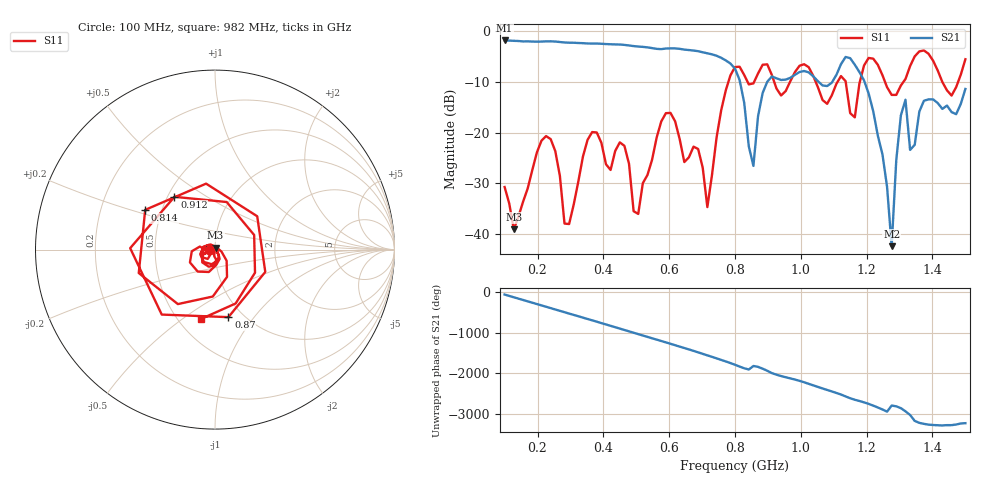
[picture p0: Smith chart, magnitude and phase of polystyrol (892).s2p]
! NanoVNA-App
! Date: 2025-09-25 15:36:49
! Start: 100MHz Stop: 1,5GHz Points: 101
! S-Parameter data: F S11 S21 S12 S22
# Hz S RI R 50
!  Frequency  S11_Real  S11_Imag  S21_Real  S21_Imag  S12_Real  S12_Imag  S22_Real  S22_Imag
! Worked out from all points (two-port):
!   101 points, 100 MHz to 1.5 GHz, reference 50 ohm
!   highest |S21| = -1.80 dB at 100 MHz (marker M1); lowest = -42.4 dB at 1.276 GHz (marker M2)
!   |S21| within 3 dB of the highest: start of sweep to 743.1 MHz
!   lowest |S11| = -39.1 dB at 128 MHz (marker M3), VSWR 1.02, Z = 50.3 + j1.06 ohm
!   |S11| at or under -10 dB: start of sweep to 779.8 MHz; 1.045 GHz to 1.111 GHz (65.97 MHz wide, 6.12 % of centre); 1.256 GHz to 1.311 GHz (55.53 MHz wide, 4.33 % of centre) (the widest 3 of 7)
!   S12 and S22 are empty: the file has one direction only
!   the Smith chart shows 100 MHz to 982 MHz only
!   S11 on the Smith chart (normalised r, x): 100 MHz: 0.94, -0.01; 814 MHz: 0.40, +0.22; 870 MHz: 0.85, -0.75; 912 MHz: 0.54, +0.37; 982 MHz: 0.64, -0.59
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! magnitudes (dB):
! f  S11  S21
! 100 MHz  -30.7  -1.8
! 128 MHz  -39.1  -1.9
! 212 MHz  -21.6  -2.0
! 282 MHz  -37.9  -2.2
! 338 MHz  -24.7  -2.3
! 464 MHz  -22.6  -2.7
! 506 MHz  -36.0  -3.0
! 576 MHz  -17.8  -3.5
! 716 MHz  -34.7  -4.3
! 800 MHz  -7.0  -7.4
! 814 MHz  -7.0  -9.6
! 856 MHz  -10.3  -26.5
! 870 MHz  -8.3  -16.8
! 912 MHz  -8.6  -8.9
! 982 MHz  -8.1  -8.6
! 1.038 GHz  -8.8  -8.9
! 1.164 GHz  -17.0  -6.6
! 1.192 GHz  -6.7  -9.7
! 1.276 GHz  -12.5  -42.4
! 1.318 GHz  -9.4  -13.5
! 1.332 GHz  -6.9  -23.4
! 1.5 GHz  -5.5  -11.4
